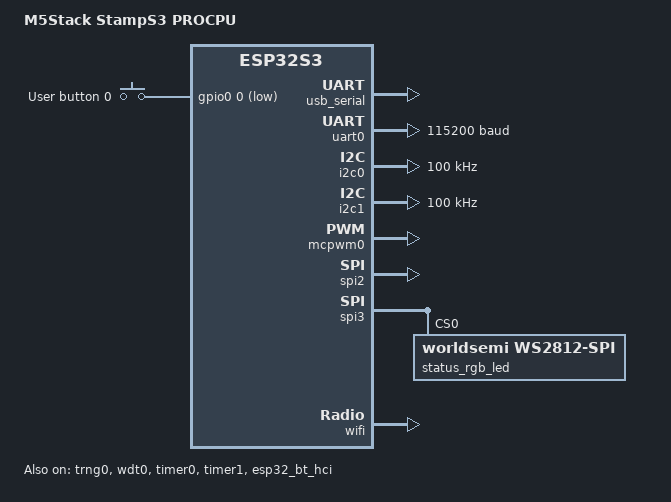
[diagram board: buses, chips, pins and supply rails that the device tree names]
/*
 * Copyright (c) 2023 Martin Kiepfer <mrmarteng@teleschirm.org>
 *
 * SPDX-License-Identifier: Apache-2.0
 */
/dts-v1/;

#include <espressif/esp32s3/esp32s3_fn8.dtsi>
#include "m5stack_stamps3-pinctrl.dtsi"
#include "m5stack_stamps3_connectors.dtsi"
#include <zephyr/dt-bindings/pwm/pwm.h>
#include <dt-bindings/led/led.h>
#include <dt-bindings/led/worldsemi_ws2812c.h>
#include <zephyr/dt-bindings/input/input-event-codes.h>
#include <espressif/partitions_0x0_amp.dtsi>

/ {
	compatible = "m5stack,stamps3";
	model = "M5Stack StampS3 PROCPU";

	chosen {
		zephyr,sram = &sram1;
		zephyr,console = &usb_serial;
		zephyr,shell-uart = &usb_serial;
		zephyr,flash = &flash0;
		zephyr,code-partition = &slot0_partition;
		zephyr,bt-hci = &esp32_bt_hci;
	};

	aliases {
		sw0 = &user_button_0;
		watchdog0 = &wdt0;
		//pwm-0 = &ledc0;
		i2c-0 = &i2c0;
		led-strip = &status_rgb_led;
	};

	gpio_keys {
		compatible = "gpio-keys";

		/* This is the button that's underneath the LCD display  */
		user_button_0: button_0 {
			label = "User button 0";
			gpios = <&gpio0 0 GPIO_ACTIVE_LOW>;
			zephyr,code = <INPUT_KEY_0>;
		};
	};
};

&usb_serial {
	status = "okay";
};

&uart0 {
	current-speed = <115200>;
	pinctrl-0 = <&uart0_default>;
	pinctrl-names = "default";
	status = "okay";
};

&i2c0 {
	clock-frequency = <I2C_BITRATE_STANDARD>;
	pinctrl-0 = <&i2c0_default>;
	pinctrl-names = "default";
	status = "okay";
};

&i2c1 {
	clock-frequency = <I2C_BITRATE_STANDARD>;
	pinctrl-0 = <&i2c1_default>;
	pinctrl-names = "default";
	status = "okay";
};

&trng0 {
	status = "okay";
};

&mcpwm0 {
	pinctrl-0 = <&mcpwm0_default>;
	pinctrl-names = "default";
	prescale = <255>;
	prescale-timer0 = <100>;
	prescale-timer1 = <100>;
	status = "okay";
};

&ledc0 {
	pinctrl-0 = <&ledc0_default>;
	pinctrl-names = "default";
	#address-cells = <1>;
	#size-cells = <0>;
	status = "disabled";

	channel0@0 {
		reg = <0x0>;
		timer = <0>;
	};

	channel0@1 {
		reg = <0x1>;
		timer = <0>;
	};
};

&spi2 {
	#address-cells = <1>;
	#size-cells = <0>;
	pinctrl-0 = <&spim2_default>;
	pinctrl-names = "default";
	status = "okay";
};

&spi3 {
	#address-cells = <1>;
	#size-cells = <0>;
	line-idle-low;
	pinctrl-0 = <&spim3_default>;
	pinctrl-names = "default";
	status = "okay";

	status_rgb_led: ws2812@0 {
		compatible = "worldsemi,ws2812-spi";
		reg = <0x0>;
		spi-max-frequency = <WS2812C_SPI_FREQ>;

		chain-length = <1>;
		color-mapping = <LED_COLOR_ID_GREEN>,
				<LED_COLOR_ID_RED>,
				<LED_COLOR_ID_BLUE>;
		spi-one-frame = <WS2812C_ONE_FRAME>;
		spi-zero-frame = <WS2812C_ZERO_FRAME>;
		reset-delay = <250>;
	};
};

&gpio0 {
	status = "okay";
};

&gpio1 {
	status = "okay";
};

&wdt0 {
	status = "okay";
};

&timer0 {
	status = "okay";
};

&timer1 {
	status = "okay";
};

&esp32_bt_hci {
	status = "okay";
};

&wifi {
	status = "okay";
};
